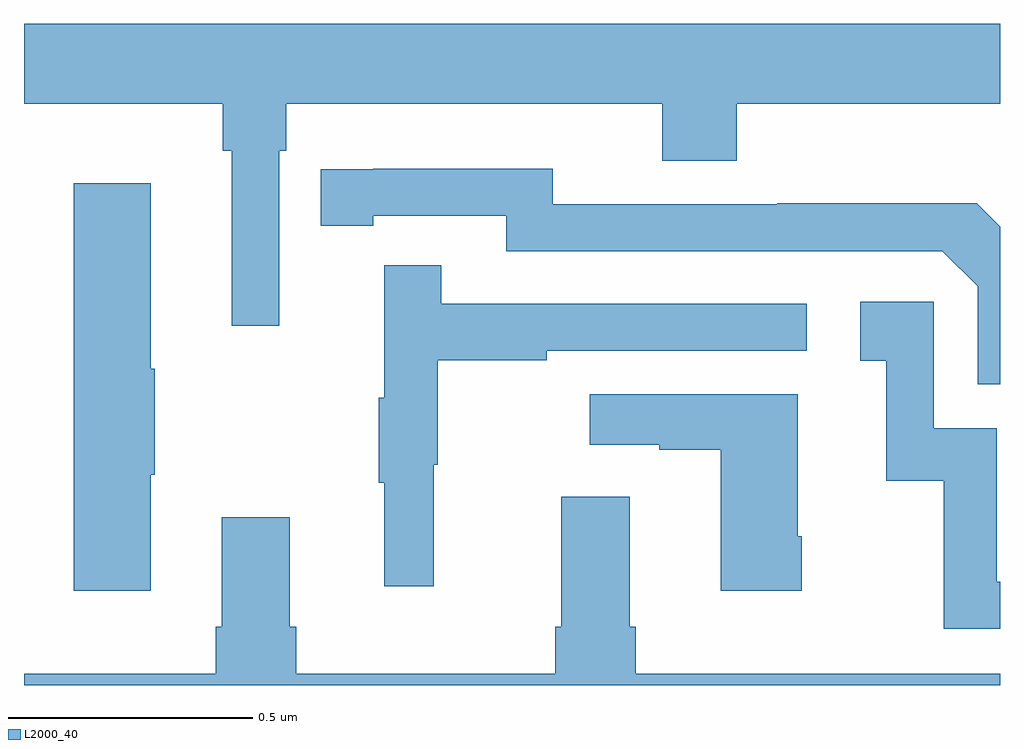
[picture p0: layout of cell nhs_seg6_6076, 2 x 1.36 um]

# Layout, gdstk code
import gdstk
lib = gdstk.Library(unit=1e-6, precision=1e-09)
def P(c, l, *ps):  # polygons
    for p in ps: c.add(gdstk.Polygon(p, *l))
L2000_40 = (2000, 40)

nhs_seg6_6076 = lib.new_cell('nhs_seg6_6076')
P(nhs_seg6_6076, L2000_40, [(191.523,924.596),(191.537,924.596),(191.537,924.692),(192.308,924.692),(192.308,924.575),(192.461,924.575),(192.461,924.692),(193,924.692),(193,924.856),(191,924.856),(191,924.692),(191.407,924.692),(191.407,924.596),(191.426,924.596),(191.426,924.237),(191.523,924.237)],
  [(193,924.44),(192.952,924.488),(192.544,924.488),(192.544,924.486),(192.084,924.486),(192.084,924.559),(191.716,924.559),(191.716,924.558),(191.608,924.558),(191.608,924.442),(191.716,924.442),(191.716,924.462),(191.988,924.462),(191.988,924.39),(192.882,924.39),(192.954,924.318),(192.954,924.117),(193,924.117)],
  [(191.26,923.932),(191.268,923.932),(191.268,924.149),(191.26,924.149),(191.26,924.529),(191.102,924.529),(191.102,923.694),(191.26,923.694)],
  [(191.84,923.952),(191.848,923.952),(191.848,924.166),(192.071,924.166),(192.071,924.186),(192.604,924.186),(192.604,924.282),(191.855,924.282),(191.855,924.361),(191.738,924.361),(191.738,924.089),(191.727,924.089),(191.727,923.915),(191.738,923.915),(191.738,923.703),(191.84,923.703)],
  [(193,923.712),(192.993,923.712),(192.993,924.027),(192.864,924.027),(192.864,924.286),(192.714,924.286),(192.714,924.165),(192.767,924.165),(192.767,923.919),(192.885,923.919),(192.885,923.616),(193,923.616)],
  [(192.594,923.806),(192.586,923.806),(192.586,924.097),(192.159,924.097),(192.159,923.993),(192.302,923.993),(192.302,923.983),(192.428,923.983),(192.428,923.694),(192.594,923.694)],
  [(192.241,923.62),(192.241,923.887),(192.101,923.887),(192.101,923.62),(192.089,923.62),(192.089,923.524),(191.558,923.524),(191.558,923.62),(191.545,923.62),(191.545,923.845),(191.405,923.845),(191.405,923.62),(191.393,923.62),(191.393,923.524),(191,923.524),(191,923.5),(193,923.5),(193,923.524),(192.254,923.524),(192.254,923.62)])

lib.write_gds('nhs_seg6_6076.gds')
